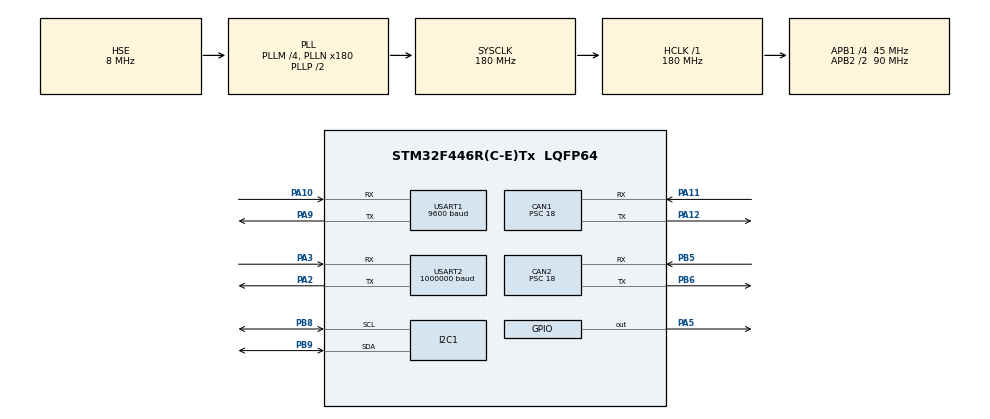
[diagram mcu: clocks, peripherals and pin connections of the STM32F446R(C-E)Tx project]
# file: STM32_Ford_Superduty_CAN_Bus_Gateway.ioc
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CAN1.BS1=CAN_BS1_2TQ
CAN1.BS2=CAN_BS2_2TQ
CAN1.CalculateBaudRate=500000
CAN1.CalculateTimeBit=2000
CAN1.CalculateTimeQuantum=400.0
CAN1.Prescaler=18
CAN2.BS1=CAN_BS1_2TQ
CAN2.BS2=CAN_BS2_2TQ
CAN2.CalculateBaudRate=500000
CAN2.CalculateTimeBit=2000
CAN2.CalculateTimeQuantum=400.0
CAN2.Prescaler=18
Dma.Request0=USART1_RX
Dma.USART1_RX.0.Direction=DMA_PERIPH_TO_MEMORY
Dma.USART1_RX.0.FIFOMode=DMA_FIFOMODE_DISABLE
Dma.USART1_RX.0.Instance=DMA2_Stream2
Dma.USART1_RX.0.MemDataAlignment=DMA_MDATAALIGN_BYTE
Dma.USART1_RX.0.MemInc=DMA_MINC_ENABLE
Dma.USART1_RX.0.Mode=DMA_NORMAL
Dma.USART1_RX.0.PeriphDataAlignment=DMA_PDATAALIGN_BYTE
Dma.USART1_RX.0.PeriphInc=DMA_PINC_DISABLE
Dma.USART1_RX.0.Priority=DMA_PRIORITY_LOW
FREERTOS.Queues01=HID_UART_Rx_Queue,20,HID_UART_Rx_Packet,0,Dynamic,NULL,NULL
FREERTOS.Tasks01=CAN1_Rx_Task,40,1024,StartCAN1_Rx_Task,Default,NULL,Dynamic,NULL,NULL;CAN2_Rx_Task,40,1024,StartCAN2_Rx_Task,Default,NULL,Dynamic,NULL,NULL;CAN1_Tx_Task,24,2048,StartCAN1_Tx_Task,Default,NULL,Dynamic,NULL,NULL;Housekeeping_Ta,8,2048,StartHousekeeping_Task,Default,NULL,Dynamic,NULL,NULL;CAN1_Send_Reque,32,2048,StartCAN_Tx_Send_Requests,Default,NULL,Dynamic,NULL,NULL;CAN2_Tx_Task,24,1024,StartCAN2_Tx_Task,Default,NULL,Dynamic,NULL,NULL;HID_RxUART_Task,24,1024,StartHID_RxUART_Task,Default,NULL,Dynamic,NULL,NULL
FREERTOS.configCHECK_FOR_STACK_OVERFLOW=2
FREERTOS.configMINIMAL_STACK_SIZE=1024
FREERTOS.configTOTAL_HEAP_SIZE=50000
FREERTOS.configUSE_NEWLIB_REENTRANT=1
I2C1.GeneralCallMode=I2C_GENERALCALL_DISABLE
Mcu.Family=STM32F4
Mcu.Name=STM32F446R(C-E)Tx
Mcu.Package=LQFP64
NVIC.CAN1_RX0_IRQn=true\:5\:0\:false\:false\:true\:true\:true\:true\:true
NVIC.CAN1_TX_IRQn=true\:5\:0\:false\:false\:true\:true\:true\:true\:true
NVIC.CAN2_RX0_IRQn=true\:5\:0\:false\:false\:true\:true\:true\:true\:true
NVIC.CAN2_TX_IRQn=true\:5\:0\:false\:false\:true\:true\:true\:true\:true
NVIC.DMA2_Stream2_IRQn=true\:5\:0\:false\:false\:true\:true\:false\:true\:true
NVIC.PriorityGroup=NVIC_PRIORITYGROUP_4
NVIC.TIM6_DAC_IRQn=true\:15\:0\:false\:false\:true\:false\:false\:true\:true
NVIC.TimeBase=TIM6_DAC_IRQn
NVIC.TimeBaseIP=TIM6
PA10.Mode=Asynchronous
PA10.Signal=USART1_RX
PA11.Mode=CAN_Activate
PA11.Signal=CAN1_RX
PA12.Mode=CAN_Activate
PA12.Signal=CAN1_TX
PA2.Mode=Asynchronous
PA2.Signal=USART2_TX
PA3.Mode=Asynchronous
PA3.Signal=USART2_RX
PA5.Signal=GPIO_Output
PA9.Mode=Asynchronous
PA9.Signal=USART1_TX
PB5.Mode=CAN_Activate
PB5.Signal=CAN2_RX
PB6.Mode=CAN_Activate
PB6.Signal=CAN2_TX
PB8.Mode=I2C
PB8.Signal=I2C1_SCL
PB9.Mode=I2C
PB9.Signal=I2C1_SDA
PH0-OSC_IN.Mode=HSE-External-Oscillator
PH0-OSC_IN.Signal=RCC_OSC_IN
PH1-OSC_OUT.Mode=HSE-External-Oscillator
PH1-OSC_OUT.Signal=RCC_OSC_OUT
ProjectManager.HeapSize=0x200
ProjectManager.StackSize=0x400
ProjectManager.TargetToolchain=STM32CubeIDE
RCC.AHBFreq_Value=180000000
RCC.APB1CLKDivider=RCC_HCLK_DIV4
RCC.APB1Freq_Value=45000000
RCC.APB1TimFreq_Value=90000000
RCC.APB2CLKDivider=RCC_HCLK_DIV2
RCC.APB2Freq_Value=90000000
RCC.APB2TimFreq_Value=180000000
RCC.CortexFreq_Value=180000000
RCC.HCLKFreq_Value=180000000
RCC.HSE_VALUE=8000000
RCC.PLLM=4
RCC.PLLN=180
RCC.PLLSourceVirtual=RCC_PLLSOURCE_HSE
RCC.SYSCLKFreq_VALUE=180000000
RCC.SYSCLKSource=RCC_SYSCLKSOURCE_PLLCLK
RCC.USBFreq_Value=180000000
RCC.VCOOutputFreq_Value=360000000
STMicroelectronics.X-CUBE-TOUCHGFX.4.22.1.tgfx_buffering_strategy=Partial
STMicroelectronics.X-CUBE-TOUCHGFX.4.22.1.tgfx_custom_height=320
STMicroelectronics.X-CUBE-TOUCHGFX.4.22.1.tgfx_custom_width=480
STMicroelectronics.X-CUBE-TOUCHGFX.4.22.1_IsPackSelfContextualization=true
USART1.BaudRate=9600
USART1.VirtualMode=VM_ASYNC
USART2.BaudRate=1000000
USART2.VirtualMode=VM_ASYNC
VP_CRC_VS_CRC.Mode=CRC_Activate
VP_FREERTOS_VS_CMSIS_V2.Mode=CMSIS_V2
VP_SYS_VS_tim6.Mode=TIM6
board=custom

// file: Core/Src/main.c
/* USER CODE BEGIN Header */
/**
  ******************************************************************************
  * @file           : main.c
  * @brief          : Main program body
  ******************************************************************************
  * @attention
  *
  * Copyright (c) 2024 STMicroelectronics.
  * All rights reserved.
  *
  * This software is licensed under terms that can be found in the LICENSE file
  * in the root directory of this software component.
  * If no LICENSE file comes with this software, it is provided AS-IS.
  *
  ******************************************************************************
  */
/* USER CODE END Header */
#include "main.h"
#include "cmsis_os.h"

/* USER CODE BEGIN Includes */

#include <string.h>  // For memcpy
#include <stdio.h> // for printf
#include <stdbool.h> // for boolean support in c

#include "config.h"
#include "buffers.h"
#include "can_common.h"
#include "device_configs.h"
#include "log.h"
#include "error.h"
#include "rtos.h"
#include "can_core.h"
#include "utils.h"
#include "system.h"
#include "queues.h"

#include "rtos_tasks.h"
#include "callbacks.h"

#ifdef IS_SIMULATOR
#include "sim.h"
#include "ansi.h"
#endif // IS_SIMULATOR

int _write(int file, char *data, int len) {
    // Use HAL_UART_Transmit to send data to UART2
    HAL_UART_Transmit(&huart2, (uint8_t *)data, len, HAL_MAX_DELAY);
    return len;
}

/* USER CODE END Includes */

CAN_HandleTypeDef hcan1;
CAN_HandleTypeDef hcan2;

CRC_HandleTypeDef hcrc;

I2C_HandleTypeDef hi2c1;

UART_HandleTypeDef huart1;
UART_HandleTypeDef huart2;
DMA_HandleTypeDef hdma_usart1_rx;

/* Definitions for CAN1_Rx_Task */
osThreadId_t CAN1_Rx_TaskHandle;
const osThreadAttr_t CAN1_Rx_Task_attributes = {
  .name = "CAN1_Rx_Task",
  .stack_size = 1024 * 4,
  .priority = (osPriority_t) osPriorityHigh,
};
/* Definitions for CAN2_Rx_Task */
osThreadId_t CAN2_Rx_TaskHandle;
const osThreadAttr_t CAN2_Rx_Task_attributes = {
  .name = "CAN2_Rx_Task",
  .stack_size = 1024 * 4,
  .priority = (osPriority_t) osPriorityHigh,
};
/* Definitions for CAN1_Tx_Task */
osThreadId_t CAN1_Tx_TaskHandle;
const osThreadAttr_t CAN1_Tx_Task_attributes = {
  .name = "CAN1_Tx_Task",
  .stack_size = 2048 * 4,
  .priority = (osPriority_t) osPriorityNormal,
};
/* Definitions for Housekeeping_Ta */
osThreadId_t Housekeeping_TaHandle;
const osThreadAttr_t Housekeeping_Ta_attributes = {
  .name = "Housekeeping_Ta",
  .stack_size = 2048 * 4,
  .priority = (osPriority_t) osPriorityLow,
};
/* Definitions for CAN1_Send_Reque */
osThreadId_t CAN1_Send_RequeHandle;
const osThreadAttr_t CAN1_Send_Reque_attributes = {
  .name = "CAN1_Send_Reque",
  .stack_size = 2048 * 4,
  .priority = (osPriority_t) osPriorityAboveNormal,
};
/* Definitions for CAN2_Tx_Task */
osThreadId_t CAN2_Tx_TaskHandle;
const osThreadAttr_t CAN2_Tx_Task_attributes = {
  .name = "CAN2_Tx_Task",
  .stack_size = 1024 * 4,
  .priority = (osPriority_t) osPriorityNormal,
};
/* Definitions for HID_RxUART_Task */
osThreadId_t HID_RxUART_TaskHandle;
const osThreadAttr_t HID_RxUART_Task_attributes = {
  .name = "HID_RxUART_Task",
  .stack_size = 1024 * 4,
  .priority = (osPriority_t) osPriorityNormal,
};
/* Definitions for HID_UART_Rx_Queue */
osMessageQueueId_t HID_UART_Rx_QueueHandle;
const osMessageQueueAttr_t HID_UART_Rx_Queue_attributes = {
  .name = "HID_UART_Rx_Queue"
};
/* USER CODE BEGIN PV */

// Queue attributes are created in rtos.c

/* USER CODE END PV */

void SystemClock_Config(void);
static void MX_GPIO_Init(void);
static void MX_DMA_Init(void);
static void MX_CAN1_Init(void);
static void MX_I2C1_Init(void);
static void MX_CAN2_Init(void);
static void MX_CRC_Init(void);
static void MX_USART2_UART_Init(void);
static void MX_USART1_UART_Init(void);
void StartCAN1_Rx_Task(void *argument);
void StartCAN2_Rx_Task(void *argument);
void StartCAN1_Tx_Task(void *argument);
void StartHousekeeping_Task(void *argument);
void StartCAN_Tx_Send_Requests(void *argument);
void StartCAN2_Tx_Task(void *argument);
void StartHID_RxUART_Task(void *argument);

/* USER CODE BEGIN 0 */

/**
 * @brief Configure and apply a CAN filter dynamically.
 *
 * This function applies a CAN filter configuration dynamically for the specified CAN handle.
 * If the configuration fails, detailed error information is logged.
 *
 * @param hcan Pointer to the CAN hardware handle (e.g., CAN1 or CAN2).
 * @param filter_config Pointer to the CAN_FilterTypeDef containing filter settings.
 * @return bool True if the filter configuration succeeded, false otherwise.
 */
bool configure_can_filter(CAN_HandleTypeDef *hcan, const CAN_FilterTypeDef *filter_config) {
    if (hcan == NULL || filter_config == NULL) {
        user_error_handler(ERROR_INVALID_ARGUMENT, "NULL argument passed to configure_can_filter");
        return false;
    }

    HAL_StatusTypeDef status = HAL_CAN_ConfigFilter(hcan, (CAN_FilterTypeDef *)filter_config);
    if (status != HAL_OK) {
        // Dynamically construct error context
        char error_msg[64];
        snprintf(error_msg, sizeof(error_msg), "Filter config failed on CAN instance %p, status=%d", hcan, status);
        user_error_handler(ERROR_CAN_FILTER_CONFIG_FAILED, error_msg);
        return false;
    }

    // Optional: Log success for debugging
    char log_msg[64];
    snprintf(log_msg, sizeof(log_msg), "* CAN filter applied successfully on CAN instance %p", hcan);
    log_message(log_msg);

    return true;
}
/* ---| CAN TYPEDEFS |------------------------------------------------------------------------- */

/* ---| CAN VARIABLES |------------------------------------------------------------------------ */

/* ---| TIME VARIABLES |-------------------------------------------------------------------- */

/*
 * FUNCTIONS
 */

/**
 * @brief Interrupt callback for CAN Rx FIFO0 messages.
 *
 * This function is triggered by the HAL when a message is received in the
 * CAN Rx FIFO0. It delegates the handling of the received message to the
 * `__callback__process_can_rx_fifo_callback` function in `rtos.c`. This keeps the interrupt
 * service routine (ISR) lightweight and focused.
 *
 * The `__callback__process_can_rx_fifo_callback` function is responsible for:
 * - Determining the corresponding CAN instance and message queue.
 * - Allocating a CAN packet from the memory pool.
 * - Retrieving the message from the CAN peripheral.
 * - Enqueuing the packet in the RTOS message queue.
 *
 * The tasks consuming the queue are responsible for processing and freeing the packets.
 *
 * @param hcan Pointer to the CAN hardware instance (e.g., CAN1 or CAN2).
 */
void HAL_CAN_RxFifo0MsgPendingCallback(CAN_HandleTypeDef *hcan) {
    // Delegate the handling of the CAN Rx FIFO0 message to `__callback__process_can_rx_fifo_callback`
    // This keeps the ISR clean and lightweight.
    __callback__process_can_rx_fifo_callback(hcan);
}

uint8_t Cmd_End[3] = { 0xFF, 0xFF, 0xFF };

void NEXTION_SendString (const char *id, const char *string)
{
	char buf[50];
	uint8_t len = sprintf(buf, "%s.txt=\"%s\"", id, string);
	HAL_UART_Transmit(&huart1, (uint8_t *)buf, len, 1000);
	HAL_UART_Transmit(&huart1, Cmd_End, 3, 1000);

}

/* USER CODE END 0 */

int main(void)
{

  /* USER CODE BEGIN 1 */

  init_log_system();

  /* USER CODE END 1 */

  /* MCU Configuration--------------------------------------------------------*/

  /* Reset of all peripherals, Initializes the Flash interface and the Systick. */
  HAL_Init();

  /* Configure the system clock */
  SystemClock_Config();

  /* Initialize all configured peripherals */
  MX_GPIO_Init();
  MX_DMA_Init();
  MX_CAN1_Init();
  MX_I2C1_Init();
  MX_CAN2_Init();
  MX_CRC_Init();
  MX_USART2_UART_Init();
  MX_USART1_UART_Init();
  /* USER CODE BEGIN 2 */

  init_hid_uart_rx_queue();
  HAL_UART_Receive_DMA(&huart1, _g_hid_rxdata, 5);
  //bool sim_mode = is_sim_mode_enabled();

  send_clear_screen_ansi_code();

  flush_logs(); // now UART is ready, flush logs from init_log_system() above
  check_heap_usage();
  //check_heap_usage();

  EXECUTE_FUNCTION_AND_FLUSH_LOGS(display_welcome_message);

#ifdef IS_SIMULATOR
  __sim__initialize_states_mapping_array();
#endif // IS_SIMULATOR

#ifdef USE_SSD1306
  ssd1306_Init(); // init OLED screen
  init_oled_data(); // zero all string data
#endif

  // Initialize and log statuses of the HAL CAN buses
  EXECUTE_FUNCTION_AND_FLUSH_LOGS(start_hal_can_buses);

  EXECUTE_FUNCTION_AND_FLUSH_LOGS(activate_can_bus_fifo_callbacks);

  /* USER CODE END 2 */

  /* Init scheduler */
  osKernelInitialize();

  /* USER CODE BEGIN RTOS_MUTEX */
  /* add mutexes, ... */
  init_circular_buffers();
  /* USER CODE END RTOS_MUTEX */

  /* Create the queue(s) */
  /* creation of HID_UART_Rx_Queue */
  HID_UART_Rx_QueueHandle = osMessageQueueNew (20, sizeof(HID_UART_Rx_Packet), &HID_UART_Rx_Queue_attributes);

  /* USER CODE BEGIN RTOS_QUEUES */

  init_rtos_queue_handles();

  /* USER CODE END RTOS_QUEUES */

  /* Create the thread(s) */
  /* creation of CAN1_Rx_Task */
  CAN1_Rx_TaskHandle = osThreadNew(StartCAN1_Rx_Task, NULL, &CAN1_Rx_Task_attributes);

  /* creation of CAN2_Rx_Task */
  CAN2_Rx_TaskHandle = osThreadNew(StartCAN2_Rx_Task, NULL, &CAN2_Rx_Task_attributes);

  /* creation of CAN1_Tx_Task */
  CAN1_Tx_TaskHandle = osThreadNew(StartCAN1_Tx_Task, NULL, &CAN1_Tx_Task_attributes);

  /* creation of Housekeeping_Ta */
  Housekeeping_TaHandle = osThreadNew(StartHousekeeping_Task, NULL, &Housekeeping_Ta_attributes);

  /* creation of CAN1_Send_Reque */
  CAN1_Send_RequeHandle = osThreadNew(StartCAN_Tx_Send_Requests, NULL, &CAN1_Send_Reque_attributes);

  /* creation of CAN2_Tx_Task */
  CAN2_Tx_TaskHandle = osThreadNew(StartCAN2_Tx_Task, NULL, &CAN2_Tx_Task_attributes);

  /* creation of HID_RxUART_Task */
  HID_RxUART_TaskHandle = osThreadNew(StartHID_RxUART_Task, NULL, &HID_RxUART_Task_attributes);

  /* USER CODE BEGIN RTOS_EVENTS */
  /* add events, ... */
  log_message("* Initialization complete.");
  log_message("--------------------------------------------------------------------------");
  log_message("");
  flush_logs();

  /* USER CODE END RTOS_EVENTS */

  /* Start scheduler */
  osKernelStart();

  /* We should never get here as control is now taken by the scheduler */

  /* Infinite loop */
  while (1)
  {

  }
}

void SystemClock_Config(void)
{
  RCC_OscInitTypeDef RCC_OscInitStruct = {0};
  RCC_ClkInitTypeDef RCC_ClkInitStruct = {0};

  /** Configure the main internal regulator output voltage
  */
  __HAL_RCC_PWR_CLK_ENABLE();
  __HAL_PWR_VOLTAGESCALING_CONFIG(PWR_REGULATOR_VOLTAGE_SCALE1);

  /** Initializes the RCC Oscillators according to the specified parameters
  * in the RCC_OscInitTypeDef structure.
  */
  RCC_OscInitStruct.OscillatorType = RCC_OSCILLATORTYPE_HSE;
  RCC_OscInitStruct.HSEState = RCC_HSE_ON;
  RCC_OscInitStruct.PLL.PLLState = RCC_PLL_ON;
  RCC_OscInitStruct.PLL.PLLSource = RCC_PLLSOURCE_HSE;
  RCC_OscInitStruct.PLL.PLLM = 4;
  RCC_OscInitStruct.PLL.PLLN = 180;
  RCC_OscInitStruct.PLL.PLLP = RCC_PLLP_DIV2;
  RCC_OscInitStruct.PLL.PLLQ = 2;
  RCC_OscInitStruct.PLL.PLLR = 2;
  if (HAL_RCC_OscConfig(&RCC_OscInitStruct) != HAL_OK)
  {
    Error_Handler();
  }

  /** Activate the Over-Drive mode
  */
  if (HAL_PWREx_EnableOverDrive() != HAL_OK)
  {
    Error_Handler();
  }

  /** Initializes the CPU, AHB and APB buses clocks
  */
  RCC_ClkInitStruct.ClockType = RCC_CLOCKTYPE_HCLK|RCC_CLOCKTYPE_SYSCLK
                              |RCC_CLOCKTYPE_PCLK1|RCC_CLOCKTYPE_PCLK2;
  RCC_ClkInitStruct.SYSCLKSource = RCC_SYSCLKSOURCE_PLLCLK;
  RCC_ClkInitStruct.AHBCLKDivider = RCC_SYSCLK_DIV1;
  RCC_ClkInitStruct.APB1CLKDivider = RCC_HCLK_DIV4;
  RCC_ClkInitStruct.APB2CLKDivider = RCC_HCLK_DIV2;

  if (HAL_RCC_ClockConfig(&RCC_ClkInitStruct, FLASH_LATENCY_5) != HAL_OK)
  {
    Error_Handler();
  }
}

static void MX_CAN1_Init(void)
{

  hcan1.Instance = CAN1;
  hcan1.Init.Prescaler = 18;
  hcan1.Init.Mode = CAN_MODE_NORMAL;
  hcan1.Init.SyncJumpWidth = CAN_SJW_1TQ;
  hcan1.Init.TimeSeg1 = CAN_BS1_2TQ;
  hcan1.Init.TimeSeg2 = CAN_BS2_2TQ;
  hcan1.Init.TimeTriggeredMode = DISABLE;
  hcan1.Init.AutoBusOff = DISABLE;
  hcan1.Init.AutoWakeUp = DISABLE;
  hcan1.Init.AutoRetransmission = DISABLE;
  hcan1.Init.ReceiveFifoLocked = DISABLE;
  hcan1.Init.TransmitFifoPriority = DISABLE;
  if (HAL_CAN_Init(&hcan1) != HAL_OK)
  {
    Error_Handler();
  }
  /* USER CODE BEGIN CAN1_Init 2 */

  CAN_FilterTypeDef sFilterConfig;

  sFilterConfig.FilterBank = 0;                       // Use filter bank 0
  sFilterConfig.FilterMode = CAN_FILTERMODE_IDMASK;   // Use mask mode
  sFilterConfig.FilterScale = CAN_FILTERSCALE_32BIT;  // Use 32-bit filter
  sFilterConfig.FilterIdHigh = 0x0000;                // Set ID high to 0 (don't filter on specific IDs)
  sFilterConfig.FilterIdLow = 0x0000;                 // No extended ID bits
  sFilterConfig.FilterMaskIdHigh = 0x0000;            // Mask set to 0 (allows all IDs to pass)
  sFilterConfig.FilterMaskIdLow = 0x0000;             // No extended mask bits
  sFilterConfig.FilterFIFOAssignment = CAN_FILTER_FIFO0; // Assign to FIFO 0
  sFilterConfig.FilterActivation = ENABLE;            // Enable the filter

  if (!configure_can_filter(&hcan1, &sFilterConfig))
	 return;  // Exit gracefully

  /* USER CODE END CAN1_Init 2 */

}

static void MX_CAN2_Init(void)
{

  hcan2.Instance = CAN2;
  hcan2.Init.Prescaler = 18;
  hcan2.Init.Mode = CAN_MODE_NORMAL;
  hcan2.Init.SyncJumpWidth = CAN_SJW_1TQ;
  hcan2.Init.TimeSeg1 = CAN_BS1_2TQ;
  hcan2.Init.TimeSeg2 = CAN_BS2_2TQ;
  hcan2.Init.TimeTriggeredMode = DISABLE;
  hcan2.Init.AutoBusOff = DISABLE;
  hcan2.Init.AutoWakeUp = DISABLE;
  hcan2.Init.AutoRetransmission = DISABLE;
  hcan2.Init.ReceiveFifoLocked = DISABLE;
  hcan2.Init.TransmitFifoPriority = DISABLE;
  if (HAL_CAN_Init(&hcan2) != HAL_OK)
  {
    Error_Handler();
  }

}

static void MX_CRC_Init(void)
{

  hcrc.Instance = CRC;
  if (HAL_CRC_Init(&hcrc) != HAL_OK)
  {
    Error_Handler();
  }

}

static void MX_I2C1_Init(void)
{

  hi2c1.Instance = I2C1;
  hi2c1.Init.ClockSpeed = 100000;
  hi2c1.Init.DutyCycle = I2C_DUTYCYCLE_2;
  hi2c1.Init.OwnAddress1 = 0;
  hi2c1.Init.AddressingMode = I2C_ADDRESSINGMODE_7BIT;
  hi2c1.Init.DualAddressMode = I2C_DUALADDRESS_DISABLE;
  hi2c1.Init.OwnAddress2 = 0;
  hi2c1.Init.GeneralCallMode = I2C_GENERALCALL_DISABLE;
  hi2c1.Init.NoStretchMode = I2C_NOSTRETCH_DISABLE;
  if (HAL_I2C_Init(&hi2c1) != HAL_OK)
  {
    Error_Handler();
  }

}

static void MX_USART1_UART_Init(void)
{

  huart1.Instance = USART1;
  huart1.Init.BaudRate = 9600;
  huart1.Init.WordLength = UART_WORDLENGTH_8B;
  huart1.Init.StopBits = UART_STOPBITS_1;
  huart1.Init.Parity = UART_PARITY_NONE;
  huart1.Init.Mode = UART_MODE_TX_RX;
  huart1.Init.HwFlowCtl = UART_HWCONTROL_NONE;
  huart1.Init.OverSampling = UART_OVERSAMPLING_16;
  if (HAL_UART_Init(&huart1) != HAL_OK)
  {
    Error_Handler();
  }

}

static void MX_USART2_UART_Init(void)
{

  huart2.Instance = USART2;
  huart2.Init.BaudRate = 1000000;
  huart2.Init.WordLength = UART_WORDLENGTH_8B;
  huart2.Init.StopBits = UART_STOPBITS_1;
  huart2.Init.Parity = UART_PARITY_NONE;
  huart2.Init.Mode = UART_MODE_TX_RX;
  huart2.Init.HwFlowCtl = UART_HWCONTROL_NONE;
  huart2.Init.OverSampling = UART_OVERSAMPLING_16;
  if (HAL_UART_Init(&huart2) != HAL_OK)
  {
    Error_Handler();
  }

}

static void MX_DMA_Init(void)
{

  /* DMA controller clock enable */
  __HAL_RCC_DMA2_CLK_ENABLE();

  /* DMA interrupt init */
  /* DMA2_Stream2_IRQn interrupt configuration */
  HAL_NVIC_SetPriority(DMA2_Stream2_IRQn, 5, 0);
  HAL_NVIC_EnableIRQ(DMA2_Stream2_IRQn);

}

static void MX_GPIO_Init(void)
{
  GPIO_InitTypeDef GPIO_InitStruct = {0};

  /* GPIO Ports Clock Enable */
  __HAL_RCC_GPIOH_CLK_ENABLE();
  __HAL_RCC_GPIOA_CLK_ENABLE();
  __HAL_RCC_GPIOB_CLK_ENABLE();

  /*Configure GPIO pin Output Level */
  HAL_GPIO_WritePin(GPIOA, GPIO_PIN_5, GPIO_PIN_RESET);

  /*Configure GPIO pin : PA5 */
  GPIO_InitStruct.Pin = GPIO_PIN_5;
  GPIO_InitStruct.Mode = GPIO_MODE_OUTPUT_PP;
  GPIO_InitStruct.Pull = GPIO_NOPULL;
  GPIO_InitStruct.Speed = GPIO_SPEED_FREQ_LOW;
  HAL_GPIO_Init(GPIOA, &GPIO_InitStruct);

}

/* USER CODE BEGIN Header_StartCAN1_Rx_Task */
/**
 * @brief Task to handle incoming CAN1 messages.
 *
 * Steps:
 * 1. Wait for a CANPacket from the CAN1 queue (`osMessageQueueGet`).
 * 2. Process the packet using `process_can_packet`.
 * 3. Return the packet to the static pool using `_free_can_packet`.
 *
 * @param argument Unused FreeRTOS task argument placeholder.
 */
/* USER CODE END Header_StartCAN1_Rx_Task */
void StartCAN1_Rx_Task(void *argument)
{
  /* USER CODE BEGIN 5 */
  /* Infinite loop */
  CAN_Packet *packet = NULL;
  for (;;) {
      if (osMessageQueueGet(can_circular_buffer[QUEUE_RX_CAN1].queue_handle, &packet, NULL, osWaitForever) == osOK) {
    	  //checkTaskStackUsage();
          if (packet != NULL) {
        	  uint32_t queue_length = osMessageQueueGetCount(can_circular_buffer[QUEUE_RX_CAN1].queue_handle);
        	  char msg[255];
        	  if (queue_length >= 10)
        	  {
        		  sprintf(msg, "Cannot queue CAN1 Rx - QueueHandle has %lu elements and it would overflow the buffer.\r\n", queue_length);
        		  printf(msg);
        	  }
              __rtos__StartCAN_Rx_Task(CAN_TRUCK, packet);
          }
      }
  }
  /* USER CODE END 5 */
}

/* USER CODE BEGIN Header_StartCAN2_Rx_Task */
/**
 * @brief Task to handle incoming CAN2 messages.
 *
 * Steps:
 * 1. Wait for a CANPacket from the CAN2 queue (`osMessageQueueGet`).
 * 2. Process the packet using `process_can_packet`.
 * 3. Return the packet to the static pool using `_free_can_packet`.
 *
 * @param argument Unused FreeRTOS task argument placeholder.
 */
/* USER CODE END Header_StartCAN2_Rx_Task */
void StartCAN2_Rx_Task(void *argument)
{
  /* USER CODE BEGIN StartCAN2_Rx_Task */
	osThreadSuspend(osThreadGetId());
//	CAN_Packet *packet = NULL;
//	for (;;) {
//		if (osMessageQueueGet(can_circular_buffer[QUEUE_RX_CAN2].queue_handle, &packet, NULL, osWaitForever) == osOK)
//			__rtos__StartCAN_Rx_Task(CAN_AUX, packet);
//	}
  /* USER CODE END StartCAN2_Rx_Task */
}

void StartCAN1_Tx_Task(void *argument)
{
  /* USER CODE BEGIN StartCAN1_Tx_Task */
  /* Infinite loop */
  //osThreadSuspend(osThreadGetId());

  for(;;)
  {
//	  osThreadSuspend(osThreadGetId());
     CAN_Packet *packet = NULL;
     if (osMessageQueueGet(can_circular_buffer[QUEUE_TX_CAN1].queue_handle, &packet, NULL, osWaitForever) == osOK)
    	 __rtos__StartCAN_Tx_Task(CAN_TRUCK, packet);
     osDelay(5);
  }
  /* USER CODE END StartCAN1_Tx_Task */
}

/* USER CODE BEGIN Header_StartHousekeeping_Task */
/**
 * @brief Task to handle periodic housekeeping actions.
 *
 * This task updates the OLED display for a specified CAN instance
 * and performs routine system health checks.
 *
 * @param argument Not used (FreeRTOS task argument placeholder).
 */
/* USER CODE END Header_StartHousekeeping_Task */
void StartHousekeeping_Task(void *argument)
{
  /* USER CODE BEGIN StartHousekeeping_Task */
  for (;;) {
	__rtos__log_task();
	osDelay(100);
	// Yield to other threads without a fixed delay
	//osThreadYield();
	  //osThreadSuspend(osThreadGetId());
  }
  /* USER CODE END StartHousekeeping_Task */
}

void StartCAN_Tx_Send_Requests(void *argument)
{
  /* USER CODE BEGIN StartCAN_Tx_Send_Requests */
#ifdef IS_SIMULATOR
	osThreadSuspend(osThreadGetId());
#else
	/* Infinite loop */
	for (;;)
	{
	  checkTaskStackUsage();
	  uint32_t queue_length = osMessageQueueGetCount(can_circular_buffer[QUEUE_TX_CAN1].queue_handle);
	  char msg[255];
	  if (queue_length >= 7)
	  {
		  sprintf(msg, "Cannot send Tx requests - Tx_QueueHandle has %lu elements and it would overflow the buffer.\r\n", queue_length);
		  printf(msg);
	  }
	  else
	  {
			// Step 1: Update OLED display for the specified CAN instance
			log_message("* Sending PID status read requests on Truck CAN");
			flush_logs();
			send_all_requests();
	  }
      osDelay(15000);
	}
      //osThreadYield();
#endif
  /* USER CODE END StartCAN_Tx_Send_Requests */
}

void StartCAN2_Tx_Task(void *argument)
{
  /* USER CODE BEGIN StartCAN2_Tx_Task */
  /* Infinite loop */
  for(;;)
  {
		//__rtos__StartCAN_Tx_Task(CAN_TRUCK);
	    //osThreadYield();
	  	osThreadSuspend(osThreadGetId());
		//osDelay(1);
  }
  /* USER CODE END StartCAN2_Tx_Task */
}

void StartHID_RxUART_Task(void *argument)
{
  /* USER CODE BEGIN StartHID_RxUART_Task */
	/* Infinite loop */
	HID_UART_Rx_Packet packet;
	for(;;)
	{
		__rtos__StartHID_RxUART_Task(argument, &packet);
		osDelay(1);
	}
	/* USER CODE END StartHID_RxUART_Task */
}

void HAL_TIM_PeriodElapsedCallback(TIM_HandleTypeDef *htim)
{
  if (htim->Instance == TIM6) {
    HAL_IncTick();
  }
}

void Error_Handler(void)
{
  /* USER CODE BEGIN Error_Handler_Debug */
  /* User can add his own implementation to report the HAL error return state */
  __disable_irq();
  while (1)
  {
	  HAL_GPIO_TogglePin(GPIOA, GPIO_PIN_5);  // Adjust pin as needed
	  osDelay(500);  // Blink with a 500ms delay
  }
  /* USER CODE END Error_Handler_Debug */
}

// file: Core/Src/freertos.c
/* USER CODE BEGIN Header */
/**
  ******************************************************************************
  * File Name          : freertos.c
  * Description        : Code for freertos applications
  ******************************************************************************
  * @attention
  *
  * Copyright (c) 2024 STMicroelectronics.
  * All rights reserved.
  *
  * This software is licensed under terms that can be found in the LICENSE file
  * in the root directory of this software component.
  * If no LICENSE file comes with this software, it is provided AS-IS.
  *
  ******************************************************************************
  */
/* USER CODE END Header */

#include "FreeRTOS.h"
#include "task.h"
#include "main.h"

/* USER CODE BEGIN Includes */
#include <stdio.h>
#include "ansi.h"
/* USER CODE END Includes */

/* Hook prototypes */
void vApplicationStackOverflowHook(xTaskHandle xTask, signed char *pcTaskName);

/* USER CODE BEGIN 4 */
void vApplicationStackOverflowHook(xTaskHandle xTask, signed char *pcTaskName)
{
    printf("* " BRED "Stack Overflow detected!" CRESET "\r\n");
    printf("  - " BRED "Task Name: " BWHT "%s\r\n", pcTaskName);

    // Retrieve additional task information
    UBaseType_t stackHighWaterMark = uxTaskGetStackHighWaterMark(xTask);
    printf("  - Remaining Stack Space (words): " BWHT "%lu\r\n", (unsigned long)stackHighWaterMark);
   /* Run time stack overflow checking is performed if
   configCHECK_FOR_STACK_OVERFLOW is defined to 1 or 2. This hook function is
   called if a stack overflow is detected. */

    // Optional: halt the system for debugging
    while (1) {
        __NOP(); // Infinite loop for debugging
    }
}
/* USER CODE END 4 */
